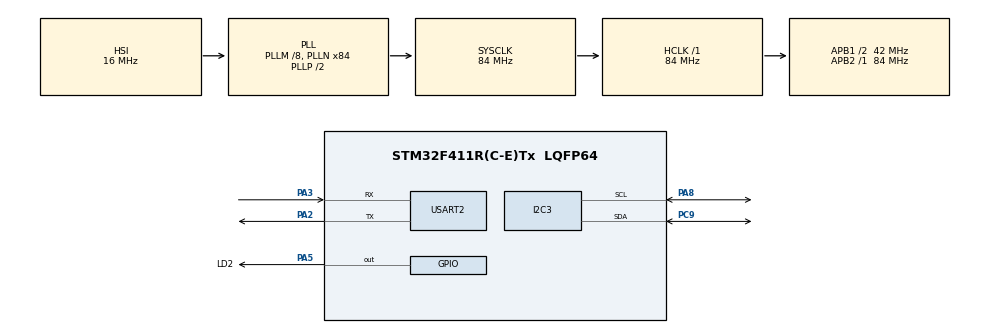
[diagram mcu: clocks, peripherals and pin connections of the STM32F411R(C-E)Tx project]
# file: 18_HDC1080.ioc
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I2C3.I2C_Mode=I2C_Fast
Mcu.Family=STM32F4
Mcu.Name=STM32F411R(C-E)Tx
Mcu.Package=LQFP64
NVIC.PriorityGroup=NVIC_PRIORITYGROUP_4
PA13.Mode=Serial_Wire
PA13.Signal=SYS_JTMS-SWDIO
PA14.Mode=Serial_Wire
PA14.Signal=SYS_JTCK-SWCLK
PA2.Mode=Asynchronous
PA2.Signal=USART2_TX
PA3.Mode=Asynchronous
PA3.Signal=USART2_RX
PA5.GPIO_Label=LD2
PA5.Signal=GPIO_Output
PA8.Mode=I2C
PA8.Signal=I2C3_SCL
PC9.Mode=I2C
PC9.Signal=I2C3_SDA
ProjectManager.HeapSize=0x200
ProjectManager.StackSize=0x400
ProjectManager.TargetToolchain=STM32CubeIDE
RCC.48MHZClocksFreq_Value=42000000
RCC.AHBFreq_Value=84000000
RCC.APB1CLKDivider=RCC_HCLK_DIV2
RCC.APB1Freq_Value=42000000
RCC.APB1TimFreq_Value=84000000
RCC.APB2Freq_Value=84000000
RCC.APB2TimFreq_Value=84000000
RCC.CortexFreq_Value=84000000
RCC.HCLKFreq_Value=84000000
RCC.HSE_VALUE=25000000
RCC.HSI_VALUE=16000000
RCC.LSE_VALUE=32768
RCC.PLLM=8
RCC.PLLN=84
RCC.SYSCLKFreq_VALUE=84000000
RCC.SYSCLKSource=RCC_SYSCLKSOURCE_PLLCLK
RCC.VCOOutputFreq_Value=168000000
USART2.VirtualMode=VM_ASYNC
board=custom

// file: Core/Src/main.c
/* USER CODE BEGIN Header */
/**
  ******************************************************************************
  * @file           : main.c
  * @brief          : Main program body
  ******************************************************************************
  * @attention
  *
  * Copyright (c) 2024 STMicroelectronics.
  * All rights reserved.
  *
  * This software is licensed under terms that can be found in the LICENSE file
  * in the root directory of this software component.
  * If no LICENSE file comes with this software, it is provided AS-IS.
  *
  ******************************************************************************
  */
/* USER CODE END Header */
#include "main.h"

/* USER CODE BEGIN Includes */
#include "hdc1080/hdc1080.h"
/* USER CODE END Includes */

I2C_HandleTypeDef hi2c3;

UART_HandleTypeDef huart2;

void SystemClock_Config(void);
static void MX_GPIO_Init(void);
static void MX_I2C3_Init(void);
static void MX_USART2_UART_Init(void);

/* USER CODE BEGIN 0 */
#ifdef __GNUC__
#define PUTCHAR_PROTOTYPE int __io_putchar(int ch)
#else
#define PUTCHAR_PROTOTYPE int fputc(int ch, FILE *f)
#endif /* __GNUC__ */

/**
* @brief  Retargets the C library printf function to the USART.
* @param  None
* @retval None
*/
PUTCHAR_PROTOTYPE
{
  /* Place your implementation of fputc here */
  /* e.g. write a character to the UART2 and Loop until the end of transmission */
  if (ch == '\n')
    HAL_UART_Transmit (&huart2, (uint8_t*) "\r", 1, 0xFFFF);

  HAL_UART_Transmit (&huart2, (uint8_t*) &ch, 1, 0xFFFF);

  return ch;
}

/* USER CODE END 0 */

int main(void)
{

  /* MCU Configuration--------------------------------------------------------*/

  /* Reset of all peripherals, Initializes the Flash interface and the Systick. */
  HAL_Init();

  /* Configure the system clock */
  SystemClock_Config();

  /* Initialize all configured peripherals */
  MX_GPIO_Init();
  MX_I2C3_Init();
  MX_USART2_UART_Init();
  /* USER CODE BEGIN 2 */
  printf ("\nNUCLEO_F103RB HDC1080 P/G\n");
  printf ("SYSCLK Frequency = %d\n", HAL_RCC_GetSysClockFreq ());
  printf ("HCLK   Frequency = %d\n", HAL_RCC_GetHCLKFreq ());
  printf ("PCLK   Frequency = %d\n", HAL_RCC_GetPCLK1Freq ());
  /* USER CODE END 2 */

  /* Infinite loop */
  /* USER CODE BEGIN WHILE */
  HAL_Delay(100);

  // chip id read
#if 1
  uint8_t buf[4];
  HAL_StatusTypeDef error;

  /* Read register */
  /* Send the read followed by address */
  buf[0] = HDC1080_ID_DEV;
  error = HAL_I2C_Master_Transmit (&hi2c3, 0x40 << 1, buf, 1, 100);
  if (error != HAL_OK)
    printf ("error\n");

  HAL_Delay (100);

  /* Receive a 2-byte result */
  error = HAL_I2C_Master_Receive (&hi2c3, 0x40 << 1 | 0x01, buf, 2, 100);
  if (error != HAL_OK)
    printf ("error\n");

  printf ("%X%X\n", buf[0], buf[1]);
#else
  uint16_t id;
  hdc1080_read_reg(&hi2c1, HDC1080_ID_DEV, &id);
  printf("\nHDC1080's ID =  %X\n", id);
#endif

  float temp;
  uint8_t humi, bat_stat;

  hdc1080_init (&hi2c3, HDC1080_T_RES_14, HDC1080_RH_RES_14, 1, &bat_stat);
  if (bat_stat)
    printf ("supply voltage Vcc < 2.8V\n\n");
  else
    printf ("supply voltage Vcc > 2.8V\n\n");
  while (1)
  {
      hdc1080_measure (&hi2c3, &temp, &humi);
      printf ("TEMP=%2.2f HUMI=%3d\n", temp, humi);

      HAL_GPIO_TogglePin (LD2_GPIO_Port, LD2_Pin);
      HAL_Delay (500);
    /* USER CODE END WHILE */

  }
}

void SystemClock_Config(void)
{
  RCC_OscInitTypeDef RCC_OscInitStruct = {0};
  RCC_ClkInitTypeDef RCC_ClkInitStruct = {0};

  /** Configure the main internal regulator output voltage
  */
  __HAL_RCC_PWR_CLK_ENABLE();
  __HAL_PWR_VOLTAGESCALING_CONFIG(PWR_REGULATOR_VOLTAGE_SCALE1);

  /** Initializes the RCC Oscillators according to the specified parameters
  * in the RCC_OscInitTypeDef structure.
  */
  RCC_OscInitStruct.OscillatorType = RCC_OSCILLATORTYPE_HSI;
  RCC_OscInitStruct.HSIState = RCC_HSI_ON;
  RCC_OscInitStruct.HSICalibrationValue = RCC_HSICALIBRATION_DEFAULT;
  RCC_OscInitStruct.PLL.PLLState = RCC_PLL_ON;
  RCC_OscInitStruct.PLL.PLLSource = RCC_PLLSOURCE_HSI;
  RCC_OscInitStruct.PLL.PLLM = 8;
  RCC_OscInitStruct.PLL.PLLN = 84;
  RCC_OscInitStruct.PLL.PLLP = RCC_PLLP_DIV2;
  RCC_OscInitStruct.PLL.PLLQ = 4;
  if (HAL_RCC_OscConfig(&RCC_OscInitStruct) != HAL_OK)
  {
    Error_Handler();
  }

  /** Initializes the CPU, AHB and APB buses clocks
  */
  RCC_ClkInitStruct.ClockType = RCC_CLOCKTYPE_HCLK|RCC_CLOCKTYPE_SYSCLK
                              |RCC_CLOCKTYPE_PCLK1|RCC_CLOCKTYPE_PCLK2;
  RCC_ClkInitStruct.SYSCLKSource = RCC_SYSCLKSOURCE_PLLCLK;
  RCC_ClkInitStruct.AHBCLKDivider = RCC_SYSCLK_DIV1;
  RCC_ClkInitStruct.APB1CLKDivider = RCC_HCLK_DIV2;
  RCC_ClkInitStruct.APB2CLKDivider = RCC_HCLK_DIV1;

  if (HAL_RCC_ClockConfig(&RCC_ClkInitStruct, FLASH_LATENCY_2) != HAL_OK)
  {
    Error_Handler();
  }
}

static void MX_I2C3_Init(void)
{

  hi2c3.Instance = I2C3;
  hi2c3.Init.ClockSpeed = 400000;
  hi2c3.Init.DutyCycle = I2C_DUTYCYCLE_2;
  hi2c3.Init.OwnAddress1 = 0;
  hi2c3.Init.AddressingMode = I2C_ADDRESSINGMODE_7BIT;
  hi2c3.Init.DualAddressMode = I2C_DUALADDRESS_DISABLE;
  hi2c3.Init.OwnAddress2 = 0;
  hi2c3.Init.GeneralCallMode = I2C_GENERALCALL_DISABLE;
  hi2c3.Init.NoStretchMode = I2C_NOSTRETCH_DISABLE;
  if (HAL_I2C_Init(&hi2c3) != HAL_OK)
  {
    Error_Handler();
  }

}

static void MX_USART2_UART_Init(void)
{

  huart2.Instance = USART2;
  huart2.Init.BaudRate = 115200;
  huart2.Init.WordLength = UART_WORDLENGTH_8B;
  huart2.Init.StopBits = UART_STOPBITS_1;
  huart2.Init.Parity = UART_PARITY_NONE;
  huart2.Init.Mode = UART_MODE_TX_RX;
  huart2.Init.HwFlowCtl = UART_HWCONTROL_NONE;
  huart2.Init.OverSampling = UART_OVERSAMPLING_16;
  if (HAL_UART_Init(&huart2) != HAL_OK)
  {
    Error_Handler();
  }

}

static void MX_GPIO_Init(void)
{
  GPIO_InitTypeDef GPIO_InitStruct = {0};

  /* GPIO Ports Clock Enable */
  __HAL_RCC_GPIOA_CLK_ENABLE();
  __HAL_RCC_GPIOC_CLK_ENABLE();

  /*Configure GPIO pin Output Level */
  HAL_GPIO_WritePin(LD2_GPIO_Port, LD2_Pin, GPIO_PIN_RESET);

  /*Configure GPIO pin : LD2_Pin */
  GPIO_InitStruct.Pin = LD2_Pin;
  GPIO_InitStruct.Mode = GPIO_MODE_OUTPUT_PP;
  GPIO_InitStruct.Pull = GPIO_NOPULL;
  GPIO_InitStruct.Speed = GPIO_SPEED_FREQ_LOW;
  HAL_GPIO_Init(LD2_GPIO_Port, &GPIO_InitStruct);

}

void Error_Handler(void)
{
  __disable_irq();
  while (1)
  {
  }
}
